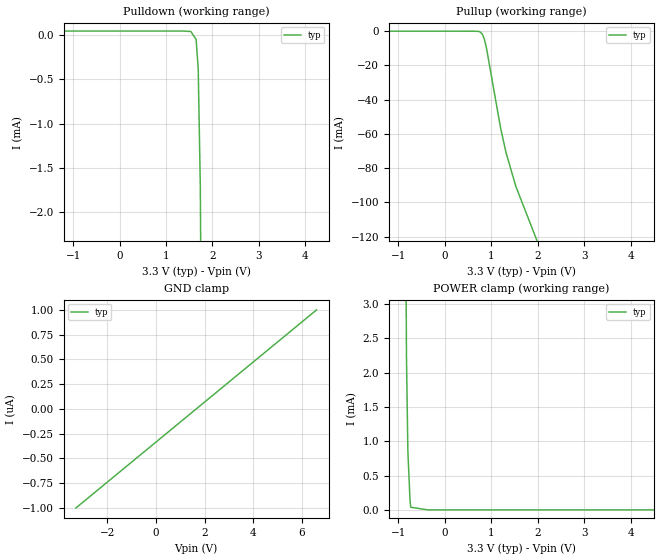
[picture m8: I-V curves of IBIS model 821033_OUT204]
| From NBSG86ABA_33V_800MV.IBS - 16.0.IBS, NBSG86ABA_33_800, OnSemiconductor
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| COPYRIGHT(C) MENTOR GRAPHICS CORPORATION 2002 ALL
| RIGHTS RESERVED. THIS WORK CONTAINS PROPRIETARY
| INFORMATION WHICH IS THE PROPERTY OF MENTOR GRAPHICS
| CORPORATION OR ITS LICENSORS. USE OF THESE MATERIALS
| IS SUBJECT TO THE TERMS BELOW.
| USE: MENTOR GRAPHICS HAS LICENSED IBIS MODELS TO
| SPECIFIC INTEGRATED CIRCUIT SUPPLIERS ("IC VENDORS")
| FOR USE AND DISTRIBUTION AS FOLLOWS: EACH IC VENDOR
| MAY USE IBIS MODELS, AND DISTRIBUTE THEM TO IC VENDOR'S
| CUSTOMERS TO USE, SOLELY FOR DEVELOPING PRINTED
| CIRCUIT BOARD DESIGNS. NO OTHER USE OR DISTRIBUTION
| OF THESE MATERIALS IS PERMITTED.
| Model Application Version 1.89 2/18/99.
[Model] 821033_OUT204
Model_type Output_ECL
Vref=1.300V
Rref=50.00ohms
Cref=0.000F
Vmeas=2.000V
C_comp 500.0fF NA NA
| variable typ   min   max
[Voltage Range] 3.300V NA NA
[POWER Clamp Reference] 3.300V NA NA
[Pullup Reference] 3.300V NA NA
[Pulldown Reference] 3.300V NA NA
[GND Clamp Reference] 0.000V NA NA
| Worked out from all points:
|   POWER clamp passes 1 mA (typ) near -0.80 V on its own axis
[GND Clamp]
-3.3V     -1uA       NA         NA
6.6V      1uA        NA         NA
[Pulldown]
-3.3V     42.06uA    NA         NA
1.395V    42.06uA    NA         NA
1.463V    38.48uA    NA         NA
1.532V    38.48uA    NA         NA
1.648V    -51.46uA   NA         NA
1.694V    -385.3uA   NA         NA
1.739V    -1.717mA   NA         NA
6.6V      -407.8mA   NA         NA
[Pullup]
-3.3V     13.84uA    NA         NA
735.8mV   -151uA     NA         NA
812.2mV   -1.845mA   NA         NA
852.5mV   -4.609mA   NA         NA
898.1mV   -9.791mA   NA         NA
1.202V    -56.47mA   NA         NA
1.319V    -70.87mA   NA         NA
1.531V    -90.68mA   NA         NA
6.6V      -443.6mA   NA         NA
[POWER Clamp]
-3.3V     348.2mA    NA         NA
-824.6mV  2.264mA    NA         NA
-794.3mV  865.7uA    NA         NA
-748.6mV  152.7uA    NA         NA
-733.3mV  38.51uA    NA         NA
-366.7mV  0A         NA         NA
6.6V      0A         NA         NA
[Ramp]
| variable typ min max
dV/dt_r 608.7m/33.92p NA NA
dV/dt_f 608.7m/31.11p NA NA
R_load = 50.00Ohms
